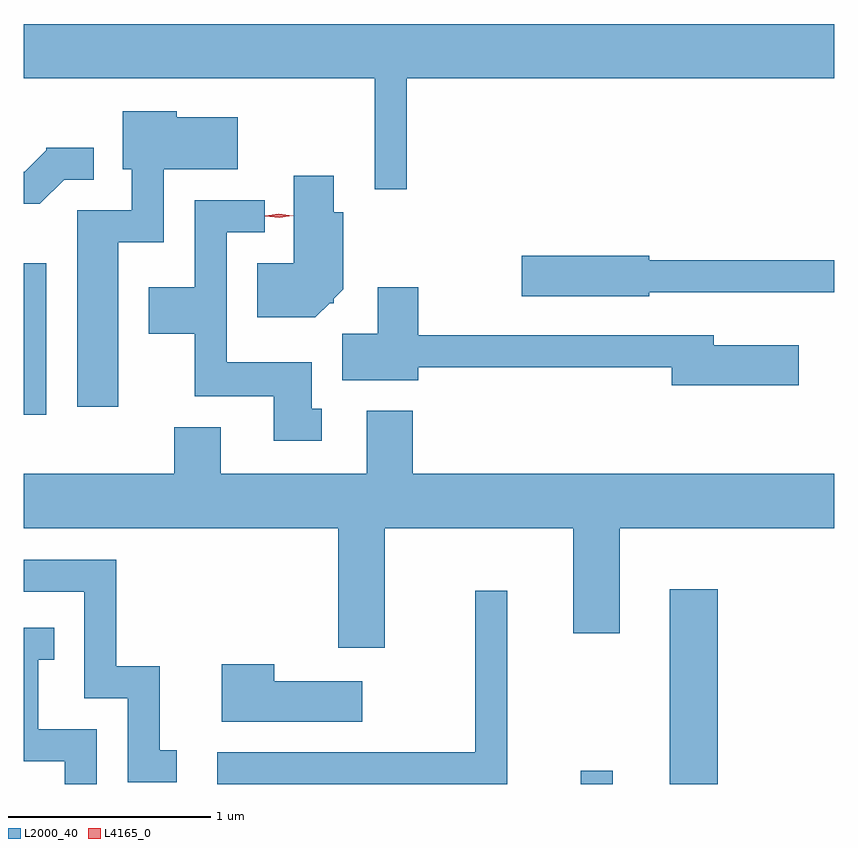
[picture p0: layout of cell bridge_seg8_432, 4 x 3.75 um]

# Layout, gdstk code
import gdstk
lib = gdstk.Library(unit=1e-6, precision=1e-09)
def R(c, l, rs):  # rectangles x0, y0, x1, y1
    for r in rs: c.add(gdstk.rectangle(r[:2], r[2:], *l))
def P(c, l, *ps):  # polygons
    for p in ps: c.add(gdstk.Polygon(p, *l))
L2000_40 = (2000, 40)
L4165_0 = (4165, 0)

bridge_seg8_432 = lib.new_cell('bridge_seg8_432')
R(bridge_seg8_432, L2000_40, [(1012.166,1866.233,1012.324,1866.298), (1012.606,1866.233,1012.844,1867.194), (1009.418,1868.056,1009.529,1868.804)])
P(bridge_seg8_432, L2000_40, [(1011.309,1869.716),(1013.418,1869.716),(1013.418,1869.984),(1009.418,1869.984),(1009.418,1869.716),(1011.151,1869.716),(1011.151,1869.168),(1011.309,1869.168)],
  [(1009.884,1868.906),(1010.109,1868.906),(1010.109,1869.266),(1010.474,1869.266),(1010.474,1869.524),(1010.174,1869.524),(1010.174,1869.554),(1009.906,1869.554),(1009.906,1869.266),(1009.951,1869.266),(1009.951,1869.064),(1009.681,1869.064),(1009.681,1868.096),(1009.884,1868.096)],
  [(1009.617,1869.216),(1009.763,1869.216),(1009.763,1869.374),(1009.53,1869.374),(1009.53,1869.361),(1009.424,1869.254),(1009.418,1869.254),(1009.418,1869.096),(1009.497,1869.096)],
  [(1010.927,1868.606),(1010.949,1868.606),(1010.949,1868.629),(1010.994,1868.674),(1010.994,1869.054),(1010.949,1869.054),(1010.949,1869.234),(1010.751,1869.234),(1010.751,1868.804),(1010.571,1868.804),(1010.571,1868.536),(1010.857,1868.536)],
  [(1010.888,1868.084),(1010.839,1868.084),(1010.839,1868.314),(1010.419,1868.314),(1010.419,1868.956),(1010.608,1868.956),(1010.608,1869.114),(1010.261,1869.114),(1010.261,1868.684),(1010.036,1868.684),(1010.036,1868.456),(1010.261,1868.456),(1010.261,1868.146),(1010.651,1868.146),(1010.651,1867.926),(1010.888,1867.926)],
  [(1012.504,1868.661),(1013.418,1868.661),(1013.418,1868.819),(1012.504,1868.819),(1012.504,1868.839),(1011.876,1868.839),(1011.876,1868.641),(1012.504,1868.641)],
  [(1013.244,1868.399),(1012.824,1868.399),(1012.824,1868.449),(1011.364,1868.449),(1011.364,1868.684),(1011.166,1868.684),(1011.166,1868.454),(1010.991,1868.454),(1010.991,1868.226),(1011.364,1868.226),(1011.364,1868.291),(1012.616,1868.291),(1012.616,1868.201),(1013.244,1868.201)],
  [(1011.199,1867.496),(1012.131,1867.496),(1012.131,1866.976),(1012.359,1866.976),(1012.359,1867.496),(1013.418,1867.496),(1013.418,1867.764),(1011.339,1867.764),(1011.339,1868.074),(1011.111,1868.074),(1011.111,1867.764),(1010.389,1867.764),(1010.389,1867.994),(1010.161,1867.994),(1010.161,1867.764),(1009.418,1867.764),(1009.418,1867.496),(1010.971,1867.496),(1010.971,1866.906),(1011.199,1866.906)],
  [(1010.173,1866.399),(1010.089,1866.399),(1010.089,1866.814),(1009.874,1866.814),(1009.874,1867.339),(1009.418,1867.339),(1009.418,1867.181),(1009.716,1867.181),(1009.716,1866.656),(1009.931,1866.656),(1009.931,1866.241),(1010.173,1866.241)],
  [(1011.804,1867.188),(1011.646,1867.188),(1011.646,1866.389),(1010.373,1866.389),(1010.373,1866.233),(1011.804,1866.233)],
  [(1009.779,1866.504),(1009.489,1866.504),(1009.489,1866.846),(1009.568,1866.846),(1009.568,1867.004),(1009.418,1867.004),(1009.418,1866.346),(1009.621,1866.346),(1009.621,1866.233),(1009.779,1866.233)],
  [(1011.089,1866.739),(1010.654,1866.739),(1010.654,1866.824),(1010.396,1866.824),(1010.396,1866.541),(1011.089,1866.541)])
P(bridge_seg8_432, L4165_0, [(1010.678,1869.028),(1010.609,1869.036),(1010.608,1869.037),(1010.609,1869.038),(1010.677,1869.047),(1010.746,1869.038),(1010.747,1869.038),(1010.746,1869.037)])

lib.write_gds('bridge_seg8_432.gds')
